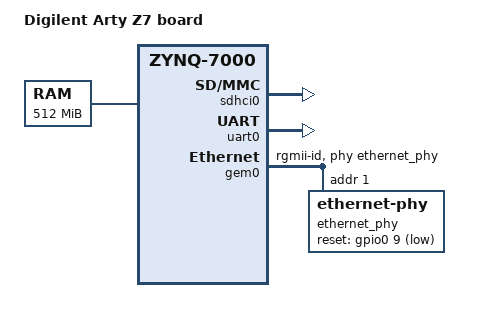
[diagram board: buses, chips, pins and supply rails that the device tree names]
// SPDX-License-Identifier: GPL-2.0+
/*
 * Digilent Arty Z7-10 (xc7z010clg400-1)
 *
 * PS7 config matches Digilent's official Vivado board preset
 * (arty-z7-10/A.0/preset.xml): DDR3 MT41J256M16 (512MB, 16-bit bus),
 * UART0 on MIO 14..15, SD0 on MIO 40..45 with card detect on MIO 47,
 * ENET0/GEM0 via RGMII to an onboard Realtek RTL8211E-VL PHY (MDIO address
 * 1 per the Arty Z7 Reference Manual sec. 9; PHYRSTB on MIO9, INTB on MIO10
 * -- INTB left unconnected here, phylib polls instead of using an irq).
 */
/dts-v1/;
#include "zynq-7000.dtsi"
#include <dt-bindings/gpio/gpio.h>

/ {
	model = "Digilent Arty Z7 board";
	compatible = "digilentinc,zynq-arty-z7", "xlnx,zynq-7000";

	aliases {
		serial0 = &uart0;
		mmc0 = &sdhci0;
		ethernet0 = &gem0;
	};

	memory@0 {
		device_type = "memory";
		reg = <0x0 0x20000000>;
	};

	chosen {
		bootargs = "console=ttyPS0,115200 earlyprintk";
		stdout-path = "serial0:115200n8";
	};
};

&clkc {
	/* See u-boot/zynq-arty-z7.dts: Arty Z7's PS_CLK is a 50 MHz oscillator,
	 * not the 33.333 MHz assumed elsewhere -- wrong here miscomputes every
	 * PLL-derived clock (including the UART baud clock) from the live SLCR
	 * registers. */
	ps-clk-frequency = <50000000>;
};

&sdhci0 {
	status = "okay";
};

&uart0 {
	status = "okay";
};

&gem0 {
	status = "okay";
	phy-mode = "rgmii-id";
	phy-handle = <&ethernet_phy>;

	ethernet_phy: ethernet-phy@1 {
		reg = <1>;
		reset-gpios = <&gpio0 9 GPIO_ACTIVE_LOW>;
		reset-assert-us = <10000>;
		reset-deassert-us = <100000>;
	};
};
